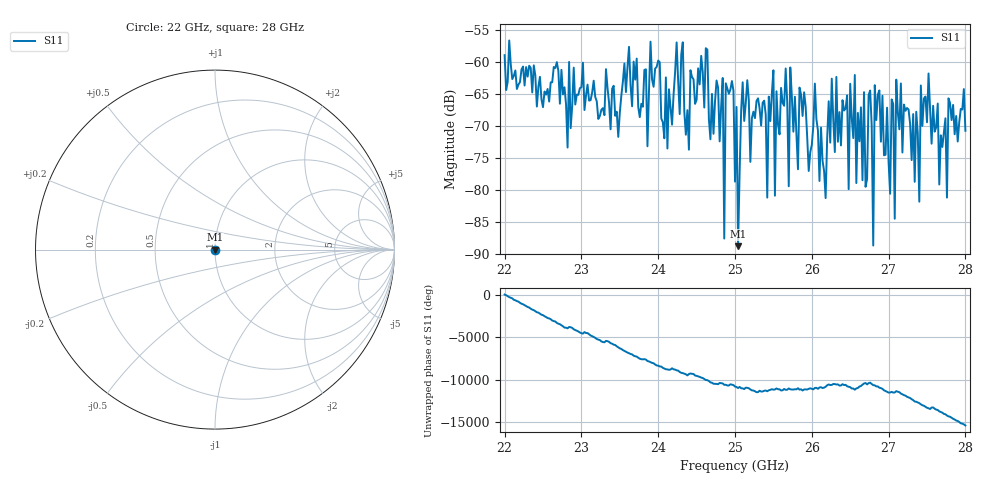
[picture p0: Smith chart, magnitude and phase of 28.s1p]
#  HZ  S  RI  R  50.00
! Rohde & Schwarz ZVA40 4Ports - Version 3.90 - 1145.1110k42 SN: 100403
! Date: 2023-10-04 09:27:17
! Measurement: S12
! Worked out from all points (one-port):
!   301 points, 22 GHz to 28 GHz, reference 50 ohm
!   lowest |S11| = -88.8 dB at 25.04 GHz (marker M1), VSWR 1.00, Z = 50 + j0.00165 ohm
!   |S11| at or under -10 dB: start of sweep to end of sweep
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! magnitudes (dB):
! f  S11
! 22 GHz  -58.9
! 22.76 GHz  -65.1
! 23.5 GHz  -67.9
! 24.26 GHz  -63.0
! 24.84 GHz  -62.5
! 24.86 GHz  -87.6
! 24.88 GHz  -63.3
! 24.96 GHz  -63.0
! 25 GHz  -78.7
! 25.04 GHz  -88.8
! 25.1 GHz  -63.2
! 25.42 GHz  -81.2
! 25.5 GHz  -61.3
! 25.52 GHz  -80.9
! 25.54 GHz  -64.6
! 25.76 GHz  -70.9
! 26.04 GHz  -63.4
! 26.18 GHz  -81.3
! 26.32 GHz  -62.3
! 26.48 GHz  -79.9
! 26.5 GHz  -63.4
! 26.56 GHz  -62.0
! 26.58 GHz  -78.9
! 26.68 GHz  -64.7
! 26.8 GHz  -88.7
! 26.82 GHz  -63.6
! 27.26 GHz  -67.4
! 28 GHz  -70.8
